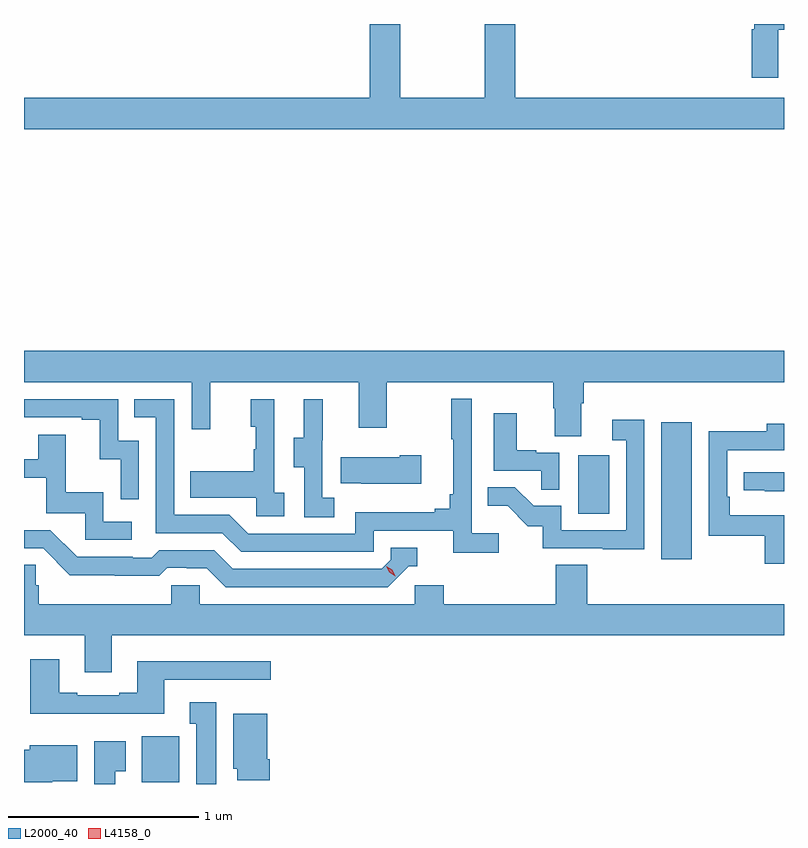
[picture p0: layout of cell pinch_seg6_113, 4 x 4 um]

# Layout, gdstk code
import gdstk
lib = gdstk.Library(unit=1e-6, precision=1e-09)
def R(c, l, rs):  # rectangles x0, y0, x1, y1
    for r in rs: c.add(gdstk.rectangle(r[:2], r[2:], *l))
def P(c, l, *ps):  # polygons
    for p in ps: c.add(gdstk.Polygon(p, *l))
L2000_40 = (2000, 40)
L4158_0 = (4158, 0)

pinch_seg6_113 = lib.new_cell('pinch_seg6_113')
R(pinch_seg6_113, L2000_40, [(1010.885,929.246,1011.082,929.488), (1013.618,930.42,1013.779,931.141), (1013.18,930.66,1013.344,930.967)])
P(pinch_seg6_113, L2000_40, [(1014.235,933.206),(1014.264,933.206),(1014.264,933.237),(1014.107,933.237),(1014.107,933.21),(1014.095,933.21),(1014.095,932.955),(1014.235,932.955)],
  [(1014.264,932.848),(1012.85,932.848),(1012.85,933.237),(1012.69,933.237),(1012.69,932.848),(1012.245,932.848),(1012.245,933.237),(1012.085,933.237),(1012.085,932.848),(1010.264,932.848),(1010.264,932.684),(1014.264,932.684)],
  [(1013.197,931.24),(1013.21,931.24),(1013.21,931.352),(1014.264,931.352),(1014.264,931.516),(1010.264,931.516),(1010.264,931.352),(1011.147,931.352),(1011.147,931.104),(1011.245,931.104),(1011.245,931.352),(1012.025,931.352),(1012.025,931.113),(1012.173,931.113),(1012.173,931.352),(1013.05,931.352),(1013.05,931.215),(1013.057,931.215),(1013.057,931.066),(1013.197,931.066)],
  [(1012.762,930.556),(1012.62,930.556),(1012.62,931.264),(1012.512,931.264),(1012.512,931.051),(1012.523,931.051),(1012.523,930.763),(1012.504,930.763),(1012.504,930.686),(1012.427,930.686),(1012.427,930.667),(1012.008,930.667),(1012.008,930.555),(1011.444,930.555),(1011.345,930.654),(1011.054,930.654),(1011.054,931.263),(1010.845,931.263),(1010.845,931.167),(1010.958,931.167),(1010.958,930.558),(1011.308,930.558),(1011.407,930.459),(1012.104,930.459),(1012.104,930.57),(1012.523,930.57),(1012.523,930.454),(1012.762,930.454)],
  [(1010.868,931.044),(1010.76,931.044),(1010.76,931.263),(1010.264,931.263),(1010.264,931.167),(1010.567,931.167),(1010.567,931.155),(1010.663,931.155),(1010.663,930.947),(1010.772,930.947),(1010.772,930.735),(1010.868,930.735)],
  [(1011.634,930.77),(1011.582,930.77),(1011.582,931.261),(1011.458,931.261),(1011.458,931.116),(1011.484,931.116),(1011.484,930.998),(1011.474,930.998),(1011.474,930.883),(1011.139,930.883),(1011.139,930.743),(1011.486,930.743),(1011.486,930.645),(1011.634,930.645)],
  [(1011.898,930.743),(1011.834,930.743),(1011.834,931.047),(1011.836,931.047),(1011.836,931.261),(1011.737,931.261),(1011.737,931.059),(1011.683,931.059),(1011.683,930.904),(1011.738,930.904),(1011.738,930.64),(1011.898,930.64)],
  [(1013.082,930.981),(1012.961,930.981),(1012.961,930.994),(1012.858,930.994),(1012.858,931.189),(1012.736,931.189),(1012.736,930.885),(1012.987,930.885),(1012.987,930.787),(1013.082,930.787)],
  [(1013.529,931.153),(1013.361,931.153),(1013.361,931.047),(1013.433,931.047),(1013.433,930.573),(1013.091,930.573),(1013.091,930.702),(1012.946,930.702),(1012.848,930.8),(1012.705,930.8),(1012.705,930.701),(1012.809,930.701),(1012.916,930.594),(1012.993,930.594),(1012.993,930.477),(1013.311,930.477),(1013.311,930.472),(1013.529,930.472)],
  [(1014.264,930.652),(1013.978,930.652),(1013.978,930.748),(1013.964,930.748),(1013.964,930.993),(1014.264,930.993),(1014.264,931.132),(1014.173,931.132),(1014.173,931.094),(1013.868,931.094),(1013.868,930.543),(1014.162,930.543),(1014.162,930.396),(1014.264,930.396)],
  [(1010.83,930.618),(1010.682,930.618),(1010.682,930.772),(1010.483,930.772),(1010.483,931.075),(1010.339,931.075),(1010.339,930.945),(1010.264,930.945),(1010.264,930.849),(1010.381,930.849),(1010.381,930.663),(1010.586,930.663),(1010.586,930.522),(1010.83,930.522)],
  [(1012.354,930.966),(1012.241,930.966),(1012.241,930.958),(1011.931,930.958),(1011.931,930.821),(1012.039,930.821),(1012.039,930.818),(1012.354,930.818)],
  [(1014.264,930.879),(1014.051,930.879),(1014.051,930.783),(1014.163,930.783),(1014.163,930.778),(1014.264,930.778)],
  [(1012.29,930.384),(1012.333,930.384),(1012.333,930.48),(1012.194,930.48),(1012.194,930.417),(1012.146,930.369),(1011.363,930.369),(1011.264,930.468),(1010.975,930.468),(1010.936,930.429),(1010.837,930.429),(1010.837,930.432),(1010.544,930.432),(1010.403,930.573),(1010.264,930.573),(1010.264,930.477),(1010.364,930.477),(1010.506,930.335),(1010.742,930.335),(1010.742,930.333),(1010.975,930.333),(1011.017,930.375),(1011.12,930.375),(1011.12,930.372),(1011.227,930.372),(1011.326,930.273),(1012.179,930.273)],
  [(1010.725,930.02),(1014.264,930.02),(1014.264,930.184),(1013.228,930.184),(1013.228,930.392),(1013.063,930.392),(1013.063,930.184),(1012.472,930.184),(1012.472,930.282),(1012.32,930.282),(1012.32,930.184),(1011.189,930.184),(1011.189,930.282),(1011.039,930.282),(1011.039,930.184),(1010.342,930.184),(1010.342,930.282),(1010.327,930.282),(1010.327,930.392),(1010.264,930.392),(1010.264,930.02),(1010.585,930.02),(1010.585,929.826),(1010.725,929.826)],
  [(1011.001,929.787),(1011.562,929.787),(1011.562,929.884),(1010.861,929.884),(1010.861,929.716),(1010.765,929.716),(1010.765,929.703),(1010.545,929.703),(1010.545,929.716),(1010.449,929.716),(1010.449,929.893),(1010.297,929.893),(1010.297,929.606),(1011.001,929.606)],
  [(1011.277,929.668),(1011.137,929.668),(1011.137,929.555),(1011.17,929.555),(1011.17,929.237),(1011.277,929.237)],
  [(1011.557,929.368),(1011.544,929.368),(1011.544,929.608),(1011.365,929.608),(1011.365,929.316),(1011.386,929.316),(1011.386,929.256),(1011.557,929.256)],
  [(1010.743,929.305),(1010.8,929.305),(1010.8,929.461),(1010.633,929.461),(1010.633,929.237),(1010.743,929.237)],
  [(1010.412,929.252),(1010.545,929.252),(1010.545,929.44),(1010.294,929.44),(1010.294,929.417),(1010.264,929.417),(1010.264,929.246),(1010.412,929.246)])
P(pinch_seg6_113, L4158_0, [(1012.218,930.331),(1012.187,930.351),(1012.171,930.384),(1012.171,930.384),(1012.171,930.384),(1012.202,930.364),(1012.218,930.332),(1012.218,930.331)])

lib.write_gds('pinch_seg6_113.gds')
